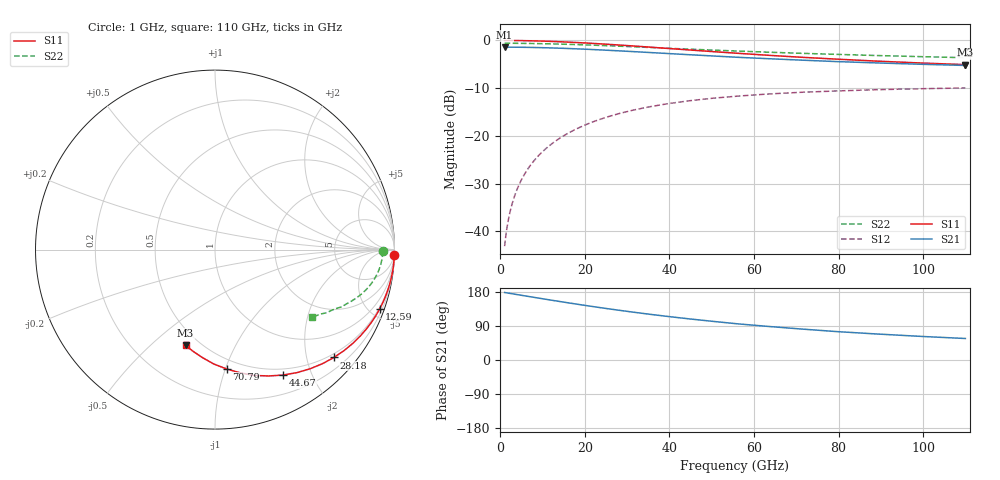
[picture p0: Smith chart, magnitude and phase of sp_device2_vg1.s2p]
! Touchstone Ver. 1.0
! Number of ports is 2
# Hz	S	RI	R	50.000000
! SCATTERING PARAMETERS  :
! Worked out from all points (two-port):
!   42 points, 1 GHz to 110 GHz, reference 50 ohm
!   highest |S21| = -1.40 dB at 1 GHz (marker M1); lowest = -5.2 dB at 110 GHz (marker M2)
!   |S21| within 3 dB of the highest: start of sweep to 78.85 GHz
!   lowest |S11| = -5.1 dB at 110 GHz (marker M3), VSWR 3.53, Z = 21 - j32.5 ohm
!   |S11| at or under -10 dB: nowhere
!   |S22| runs from -3.6 to -0.6 dB; largest |S21 - S12| = 0.85
!   S11 on the Smith chart (normalised r, x): 1 GHz: 0, -71; 12.59 GHz: 0.42, -5.67; 28.18 GHz: 0.42, -2.53; 44.67 GHz: 0.42, -1.60; 70.79 GHz: 0.42, -1.01; 110 GHz: 0.42, -0.65
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1e9  0.9994 -0.028  -0.8505 0.0276  0.000141 0.007  0.9345 -0.0097
1.258925e9  0.9991 -0.0352  -0.8501 0.0347  0.000223 0.00881  0.9344 -0.0122
1.584893e9  0.9986 -0.0444  -0.8496 0.0437  0.000353 0.0111  0.9343 -0.0154
2.238721e9  0.9972 -0.0628  -0.8482 0.0619  0.000706 0.0156  0.9339 -0.0219
3.162278e9  0.9944 -0.0882  -0.8454 0.087  0.0014 0.022  0.9332 -0.0306
4.466836e9  0.989 -0.1242  -0.8399 0.1223  0.00278 0.031  0.9317 -0.0431
6.309573e9  0.9782 -0.174  -0.8289 0.1714  0.00551 0.0435  0.9287 -0.0605
7.943282e9  0.9657 -0.2171  -0.8163 0.2138  0.00865 0.0542  0.9253 -0.0756
1e10  0.9464 -0.2695  -0.7968 0.2653  0.0135 0.0673  0.92 -0.0942
1.258925e10  0.9169 -0.3318  -0.7669 0.3264  0.021 0.0829  0.9119 -0.1167
1.584893e10  0.8727 -0.4038  -0.7222 0.3968  0.0321 0.1008  0.8997 -0.1433
1.995262e10  0.8083 -0.4828  -0.6572 0.4736  0.0483 0.1204  0.8819 -0.1737
2.511886e10  0.7187 -0.563  -0.5667 0.5506  0.0709 0.1403  0.8568 -0.207
2.818383e10  0.6632 -0.6006  -0.5109 0.5862  0.0849 0.1496  0.8411 -0.2241
3.548134e10  0.5319 -0.6633  -0.3786 0.6437  0.1179 0.1648  0.8033 -0.2578
3.981072e10  0.4574 -0.6852  -0.3038 0.6624  0.1367 0.1701  0.7814 -0.2737
4.466836e10  0.379 -0.6991  -0.2253 0.6724  0.1564 0.1732  0.7577 -0.2886
5.623413e10  0.2153 -0.701  -0.0616 0.6629  0.1973 0.1714  0.7051 -0.3191
7.079458e10  0.0645 -0.665  0.0859 0.6171  0.2351 0.1628  0.6523 -0.3373
7.943282e10  -0.00641 -0.6375  0.1549 0.5806  0.2525 0.1538  0.623 -0.3512
1e11  -0.1233 -0.5659  0.2638 0.4965  0.2813 0.136  0.567 -0.3673
1.1e11  -0.1641 -0.5334  0.3002 0.4574  0.2912 0.1273  0.5422 -0.3755
